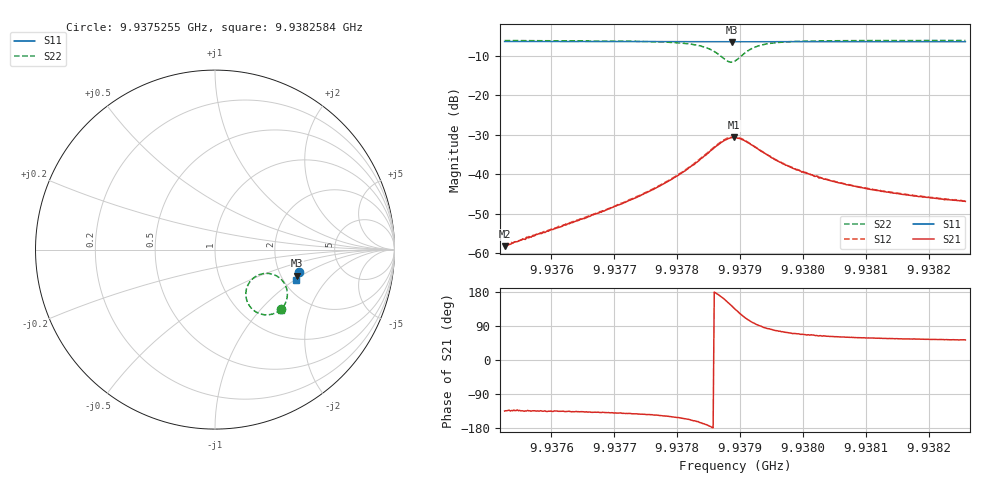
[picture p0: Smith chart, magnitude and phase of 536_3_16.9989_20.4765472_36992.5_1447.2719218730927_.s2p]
#  HZ  S  RI  R  50.00
! Rohde & Schwarz Vector Network Analyzer
! Rohde-Schwarz,ZNB20-2Port,1311601062101988,3.16
! Created: UTC 3/20/2024, 11:16:07 PM
! freq[Hz]  re:S11  im:S11  re:S21  im:S21  re:S12  im:S12  re:S22  im:S22
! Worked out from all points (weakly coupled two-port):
!   401 points, 9.9375255 GHz to 9.9382584 GHz, reference 50 ohm
!   highest |S21| = -30.65 dB at 9.9378901 GHz (marker M1); lowest = -58.2 dB at 9.9375255 GHz (marker M2)
!   lowest |S11| = -6.4 dB at 9.9378864 GHz (marker M3), VSWR 2.83, Z = 121 - j45.6 ohm
!   |S11| at or under -10 dB: nowhere
!   |S22| runs from -11.6 to -6.1 dB; largest |S21 - S12| = 0.0013
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9.93752548e9  0.4666 -0.1232  -0.000864 -0.000875  -0.000872 -0.000896  0.3685 -0.3322
9.93764825e9  0.4637 -0.1316  -0.00196 -0.00187  -0.00205 -0.00184  0.3524 -0.3442
9.93771604e9  0.4619 -0.136  -0.00339 -0.00277  -0.0035 -0.00278  0.3365 -0.3528
9.93777101e9  0.4604 -0.1398  -0.00586 -0.0039  -0.00604 -0.0039  0.3127 -0.3608
9.93781132e9  0.4591 -0.1425  -0.00987 -0.00467  -0.0102 -0.00462  0.2774 -0.3632
9.93783148e9  0.4581 -0.144  -0.0136 -0.0043  -0.0141 -0.00416  0.247 -0.3562
9.93784614e9  0.4574 -0.1449  -0.0174 -0.00293  -0.018 -0.00269  0.2171 -0.3397
9.93785896e9  0.4563 -0.1453  -0.0218 0.000291  -0.0223 0.000771  0.1884 -0.3079
9.93786996e9  0.4557 -0.1454  -0.0247 0.00571  -0.0251 0.00647  0.1726 -0.2604
9.93787912e9  0.4552 -0.1454  -0.0251 0.0122  -0.0255 0.0131  0.1785 -0.2094
9.93788645e9  0.4551 -0.1451  -0.0234 0.0174  -0.0232 0.0186  0.2022 -0.17
9.93789011e9  0.4552 -0.145  -0.0215 0.0199  -0.0212 0.021  0.2198 -0.1543
9.93789194e9  0.4552 -0.1452  -0.0204 0.0209  -0.0201 0.0219  0.2293 -0.1481
9.93790111e9  0.4557 -0.1452  -0.0143 0.0243  -0.0138 0.0251  0.2825 -0.1328
9.93791393e9  0.4562 -0.1457  -0.00649 0.024  -0.00579 0.0245  0.3438 -0.147
9.93793409e9  0.4566 -0.1473  0.000437 0.0195  0.00114 0.0198  0.3896 -0.1941
9.93797073e9  0.4563 -0.1505  0.00381 0.0128  0.00409 0.0128  0.4029 -0.2528
9.93801471e9  0.4553 -0.1537  0.00402 0.00899  0.00425 0.00882  0.397 -0.2862
9.93807151e9  0.4539 -0.1576  0.00366 0.00637  0.00383 0.00638  0.3877 -0.3071
9.93813747e9  0.4521 -0.162  0.00323 0.00494  0.0034 0.00491  0.3789 -0.3211
9.93818695e9  0.4506 -0.1653  0.00299 0.00427  0.00312 0.00429  0.3734 -0.3282
9.9382584e9  0.4486 -0.1699  0.00274 0.00363  0.00283 0.00363  0.3668 -0.3359
